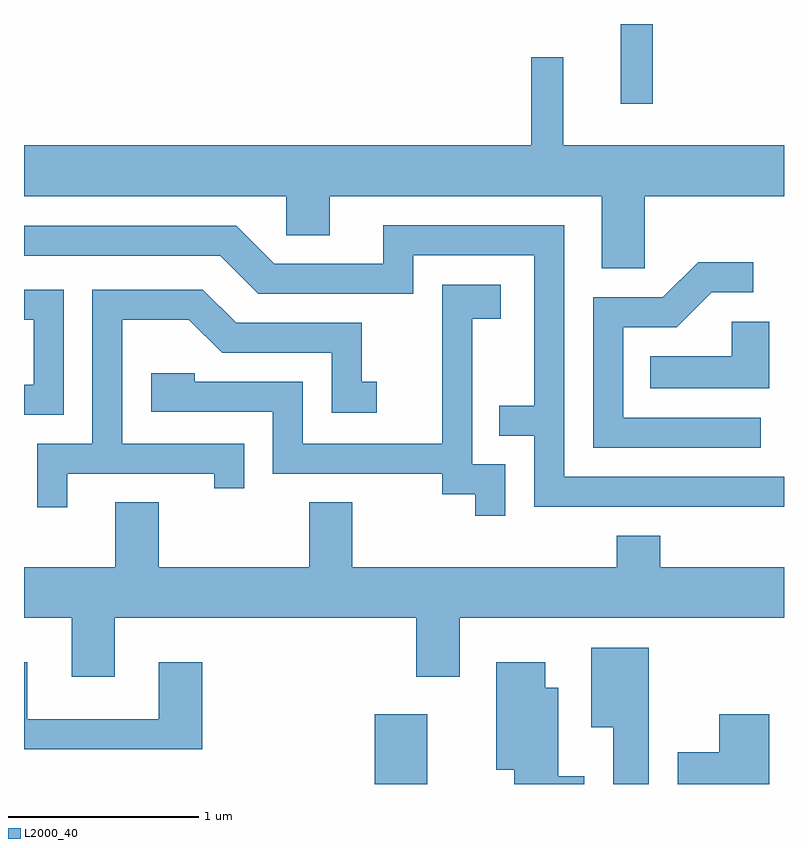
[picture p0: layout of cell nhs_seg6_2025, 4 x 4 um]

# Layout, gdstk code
import gdstk
lib = gdstk.Library(unit=1e-6, precision=1e-09)
def R(c, l, rs):  # rectangles x0, y0, x1, y1
    for r in rs: c.add(gdstk.rectangle(r[:2], r[2:], *l))
def P(c, l, *ps):  # polygons
    for p in ps: c.add(gdstk.Polygon(p, *l))
L2000_40 = (2000, 40)

nhs_seg6_2025 = lib.new_cell('nhs_seg6_2025')
R(nhs_seg6_2025, L2000_40, [(247.456,1660.162,247.734,1660.529), (248.751,1663.743,248.919,1664.162)])
P(nhs_seg6_2025, L2000_40, [(248.879,1663.256),(249.611,1663.256),(249.611,1663.524),(248.449,1663.524),(248.449,1663.988),(248.281,1663.988),(248.281,1663.524),(245.611,1663.524),(245.611,1663.256),(246.991,1663.256),(246.991,1663.051),(247.219,1663.051),(247.219,1663.256),(248.651,1663.256),(248.651,1662.876),(248.879,1662.876)],
  [(249.611,1661.779),(248.454,1661.779),(248.454,1663.104),(247.501,1663.104),(247.501,1662.899),(246.927,1662.899),(246.727,1663.099),(245.611,1663.099),(245.611,1662.941),(246.644,1662.941),(246.844,1662.741),(247.659,1662.741),(247.659,1662.946),(248.296,1662.946),(248.296,1662.154),(248.113,1662.154),(248.113,1661.996),(248.296,1661.996),(248.296,1661.621),(249.611,1661.621)],
  [(249.488,1662.089),(248.764,1662.089),(248.764,1662.566),(249.047,1662.566),(249.232,1662.751),(249.448,1662.751),(249.448,1662.909),(249.159,1662.909),(248.974,1662.724),(248.606,1662.724),(248.606,1661.931),(249.488,1661.931)],
  [(248.144,1661.844),(247.969,1661.844),(247.969,1662.611),(248.119,1662.611),(248.119,1662.789),(247.811,1662.789),(247.811,1661.954),(247.079,1661.954),(247.079,1662.279),(246.509,1662.279),(246.509,1662.324),(246.281,1662.324),(246.281,1662.121),(246.921,1662.121),(246.921,1661.796),(247.811,1661.796),(247.811,1661.686),(247.986,1661.686),(247.986,1661.573),(248.144,1661.573)],
  [(245.819,1662.764),(245.611,1662.764),(245.611,1662.606),(245.661,1662.606),(245.661,1662.264),(245.611,1662.264),(245.611,1662.106),(245.819,1662.106)],
  [(245.839,1661.796),(246.611,1661.796),(246.611,1661.718),(246.769,1661.718),(246.769,1661.954),(246.129,1661.954),(246.129,1662.606),(246.479,1662.606),(246.654,1662.431),(247.231,1662.431),(247.231,1662.116),(247.468,1662.116),(247.468,1662.279),(247.389,1662.279),(247.389,1662.589),(246.727,1662.589),(246.552,1662.764),(245.971,1662.764),(245.971,1661.954),(245.681,1661.954),(245.681,1661.618),(245.839,1661.618)],
  [(249.534,1662.594),(249.336,1662.594),(249.336,1662.414),(248.908,1662.414),(248.908,1662.246),(249.534,1662.246)],
  [(246.089,1661.036),(247.676,1661.036),(247.676,1660.726),(247.904,1660.726),(247.904,1661.036),(249.611,1661.036),(249.611,1661.304),(248.959,1661.304),(248.959,1661.469),(248.731,1661.469),(248.731,1661.304),(247.339,1661.304),(247.339,1661.644),(247.111,1661.644),(247.111,1661.304),(246.319,1661.304),(246.319,1661.644),(246.091,1661.644),(246.091,1661.304),(245.611,1661.304),(245.611,1661.036),(245.861,1661.036),(245.861,1660.726),(246.089,1660.726)],
  [(248.899,1660.879),(248.596,1660.879),(248.596,1660.461),(248.711,1660.461),(248.711,1660.162),(248.899,1660.162)],
  [(248.559,1660.204),(248.424,1660.204),(248.424,1660.669),(248.354,1660.669),(248.354,1660.804),(248.096,1660.804),(248.096,1660.236),(248.191,1660.236),(248.191,1660.162),(248.559,1660.162)],
  [(246.549,1660.804),(246.321,1660.804),(246.321,1660.504),(245.629,1660.504),(245.629,1660.804),(245.611,1660.804),(245.611,1660.346),(246.549,1660.346)],
  [(249.534,1660.529),(249.271,1660.529),(249.271,1660.329),(249.051,1660.329),(249.051,1660.162),(249.534,1660.162)])

lib.write_gds('nhs_seg6_2025.gds')
